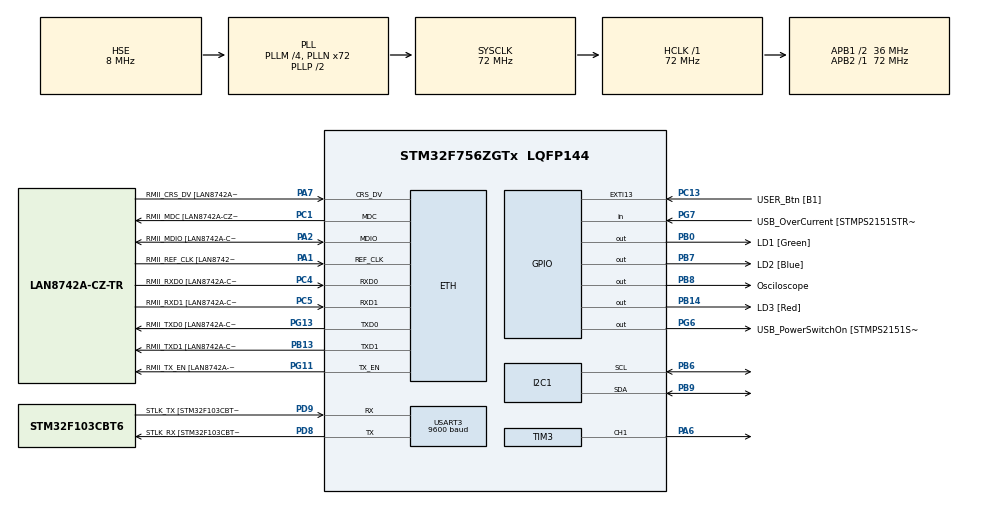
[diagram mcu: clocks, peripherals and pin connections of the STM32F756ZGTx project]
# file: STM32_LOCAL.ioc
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ETH.MediaInterface=HAL_ETH_RMII_MODE
ETH.PHY_Name=LAN8742A_PHY_ADDRESS
ETH.PHY_Value=0
ETH.PhyAddress=0
I2C1.Timing=0x00808CD2
LWIP.BSP.number=1
LWIP.GATEWAY_ADDRESS=192.168.113.010
LWIP.IP_ADDRESS=192.168.113.005
LWIP.LWIP_DHCP=0
LWIP.LWIP_HTTPD=0
LWIP.LWIP_SNTP=1
LWIP.MEM_SIZE=8000
LWIP.NETMASK_ADDRESS=255.255.255.000
LWIP.Version=v2.1.2_Cube
LWIP0.BSP.STBoard=false
LWIP0.BSP.api=BSP_COMPONENT_DRIVER
LWIP0.BSP.component=LAN8742
LWIP0.BSP.instance=LAN8742
LWIP0.BSP.name=Driver_PHY
LWIP0.BSP.semaphore=S_LAN8742
LWIP0.BSP.solution=LAN8742
Mcu.Family=STM32F7
Mcu.Name=STM32F756ZGTx
Mcu.Package=LQFP144
NVIC.PriorityGroup=NVIC_PRIORITYGROUP_4
NVIC.TIM2_IRQn=true\:0\:0\:false\:false\:true\:true\:true\:true
PA1.GPIO_Label=RMII_REF_CLK [LAN8742A-CZ-TR_REFCLK0]
PA1.Mode=RMII
PA1.Signal=ETH_REF_CLK
PA10.GPIO_Label=USB_ID
PA10.Signal=USB_OTG_FS_ID
PA11.GPIO_Label=USB_DM
PA11.Signal=USB_OTG_FS_DM
PA12.GPIO_Label=USB_DP
PA12.Signal=USB_OTG_FS_DP
PA13.GPIO_Label=TMS
PA13.Mode=Serial_Wire
PA13.Signal=SYS_JTMS-SWDIO
PA14.GPIO_Label=TCK
PA14.Mode=Serial_Wire
PA14.Signal=SYS_JTCK-SWCLK
PA2.GPIO_Label=RMII_MDIO [LAN8742A-CZ-TR_MDIO]
PA2.Mode=RMII
PA2.Signal=ETH_MDIO
PA6.Signal=S_TIM3_CH1
PA7.GPIO_Label=RMII_CRS_DV [LAN8742A-CZ-TR_CRS_DV]
PA7.Mode=RMII
PA7.Signal=ETH_CRS_DV
PA8.GPIO_Label=USB_SOF [TP1]
PA8.Signal=USB_OTG_FS_SOF
PA9.GPIO_Label=USB_VBUS
PA9.Signal=USB_OTG_FS_VBUS
PB0.GPIO_Label=LD1 [Green]
PB0.Signal=GPIO_Output
PB13.GPIO_Label=RMII_TXD1 [LAN8742A-CZ-TR_TXD1]
PB13.Mode=RMII
PB13.Signal=ETH_TXD1
PB14.GPIO_Label=LD3 [Red]
PB14.Signal=GPIO_Output
PB3.GPIO_Label=SW0
PB3.Signal=SYS_JTDO-SWO
PB6.Mode=I2C
PB6.Signal=I2C1_SCL
PB7.GPIO_Label=LD2 [Blue]
PB7.Signal=GPIO_Output
PB8.GPIO_Label=Osciloscope
PB8.PinState=GPIO_PIN_RESET
PB8.Signal=GPIO_Output
PB9.Mode=I2C
PB9.Signal=I2C1_SDA
PC1.GPIO_Label=RMII_MDC [LAN8742A-CZ-TR_MDC]
PC1.Mode=RMII
PC1.Signal=ETH_MDC
PC13.GPIO_Label=USER_Btn [B1]
PC13.Signal=GPXTI13
PC14/OSC32_IN.Mode=LSE-External-Oscillator
PC14/OSC32_IN.Signal=RCC_OSC32_IN
PC15/OSC32_OUT.Mode=LSE-External-Oscillator
PC15/OSC32_OUT.Signal=RCC_OSC32_OUT
PC4.GPIO_Label=RMII_RXD0 [LAN8742A-CZ-TR_RXD0]
PC4.Mode=RMII
PC4.Signal=ETH_RXD0
PC5.GPIO_Label=RMII_RXD1 [LAN8742A-CZ-TR_RXD1]
PC5.Mode=RMII
PC5.Signal=ETH_RXD1
PD8.GPIO_Label=STLK_RX [STM32F103CBT6_PA3]
PD8.Mode=Asynchronous
PD8.Signal=USART3_TX
PD9.GPIO_Label=STLK_TX [STM32F103CBT6_PA2]
PD9.Mode=Asynchronous
PD9.Signal=USART3_RX
PG11.GPIO_Label=RMII_TX_EN [LAN8742A-CZ-TR_TXEN]
PG11.Mode=RMII
PG11.Signal=ETH_TX_EN
PG13.GPIO_Label=RMII_TXD0 [LAN8742A-CZ-TR_TXD0]
PG13.Mode=RMII
PG13.Signal=ETH_TXD0
PG6.GPIO_Label=USB_PowerSwitchOn [STMPS2151STR_EN]
PG6.Signal=GPIO_Output
PG7.GPIO_Label=USB_OverCurrent [STMPS2151STR_FAULT]
PG7.Signal=GPIO_Input
PH0/OSC_IN.GPIO_Label=MCO [STM32F103CBT6_PA8]
PH0/OSC_IN.Mode=HSE-External-Clock-Source
PH0/OSC_IN.Signal=RCC_OSC_IN
PH1/OSC_OUT.Mode=HSE-External-Clock-Source
PH1/OSC_OUT.Signal=RCC_OSC_OUT
ProjectManager.HeapSize=0x200
ProjectManager.StackSize=0x400
ProjectManager.TargetToolchain=STM32CubeIDE
RCC.48MHZClocksFreq_Value=24000000
RCC.AHBFreq_Value=72000000
RCC.APB1CLKDivider=RCC_HCLK_DIV2
RCC.APB1Freq_Value=36000000
RCC.APB1TimFreq_Value=72000000
RCC.APB2Freq_Value=72000000
RCC.APB2TimFreq_Value=72000000
RCC.CortexFreq_Value=72000000
RCC.HCLKFreq_Value=72000000
RCC.HSE_VALUE=8000000
RCC.HSI_VALUE=16000000
RCC.PLLM=4
RCC.PLLMUL=RCC_PLL_MUL9
RCC.PLLN=72
RCC.PLLQ=3
RCC.PLLSourceVirtual=RCC_PLLSOURCE_HSE
RCC.PRESCALERUSB=RCC_USBCLKSOURCE_PLL_DIV1_5
RCC.RTCClockSelection=RCC_RTCCLKSOURCE_LSE
RCC.SYSCLKFreq_VALUE=72000000
RCC.SYSCLKSource=RCC_SYSCLKSOURCE_PLLCLK
RCC.SYSCLKSourceVirtual=RCC_SYSCLKSOURCE_PLLCLK
RCC.USBFreq_Value=48000000
RCC.VCOOutputFreq_Value=144000000
SH.S_TIM3_CH1.0=TIM3_CH1,PWM Generation1 CH1
TIM2.Period=19999
TIM2.Prescaler=71
TIM3.Channel-PWM\ Generation1\ CH1=TIM_CHANNEL_1
TIM3.Period=1999
TIM3.Prescaler=71
TIM3.Pulse-PWM\ Generation1\ CH1=999
USART3.BaudRate=9600
USART3.VirtualMode-Asynchronous=VM_ASYNC
VP_LWIP_VS_Enabled.Mode=Enabled
VP_RTC_VS_RTC_Activate.Mode=RTC_Enabled
VP_TIM2_VS_ClockSourceINT.Mode=Internal
VP_TIM3_VS_ClockSourceINT.Mode=Internal
board=NUCLEO-F756ZG

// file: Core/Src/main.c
/* USER CODE BEGIN Header */
/**
  ******************************************************************************
  * @file           : main.c
  * @brief          : Main program body
  ******************************************************************************
  * @attention
  *
  * Copyright (c) 2023 STMicroelectronics.
  * All rights reserved.
  *
  * This software is licensed under terms that can be found in the LICENSE file
  * in the root directory of this software component.
  * If no LICENSE file comes with this software, it is provided AS-IS.
  *
  ******************************************************************************
  */
/* USER CODE END Header */
#include "main.h"
#include "i2c.h"
#include "lwip.h"
#include "rtc.h"
#include "tim.h"
#include "usart.h"
#include "gpio.h"

/* USER CODE BEGIN Includes */
#include "lwip/apps/sntp.h"
#include "BH1750.h"
#include "BMP280.h"
#include "PID.h"
/* USER CODE END Includes */

/* USER CODE BEGIN PV */
BH1750_typedef BH1750;
BMP280_typedef BMP280;
PID_typedef PID;
enum mode_enum MODE;
uint16_t len = 0;
/* USER CODE END PV */

void SystemClock_Config(void);

int main(void)
{

  /* MCU Configuration--------------------------------------------------------*/

  /* Reset of all peripherals, Initializes the Flash interface and the Systick. */
  HAL_Init();

  /* Configure the system clock */
  SystemClock_Config();

  /* Initialize all configured peripherals */
  MX_GPIO_Init();
  MX_USART3_UART_Init();
  MX_LWIP_Init();
  MX_TIM2_Init();
  MX_I2C1_Init();
  MX_RTC_Init();
  MX_TIM3_Init();
  /* USER CODE BEGIN 2 */
  	ip_addr_t sntp_server_ip;
	IP4_ADDR(&sntp_server_ip, 162, 159, 200, 1);
	sntp_setserver(0, &sntp_server_ip);
	sntp_setoperatingmode(SNTP_OPMODE_POLL);
	sntp_init();
	if (HAL_I2C_IsDeviceReady(&hi2c1, BMP280_ADRESS, 10, 50) == 0) {
			__HAL_TIM_SET_AUTORELOAD(&htim2, 499999);
			BMP280_init(&BMP280);
			MODE = Temp;
			PIDInit(&PID,371.248,1.95,0,0.5,1.015,0.1);
		}
	if (HAL_I2C_IsDeviceReady(&hi2c1, BH1750_ADRESS, 10, 50) == 0) {
			__HAL_TIM_SET_AUTORELOAD(&htim2, 150149);
			BH1750_init(&BH1750);
			MODE = Light;
			PIDInit(&PID,0.08,0.3,0,0.15,1.5,0);
		}
	HAL_TIM_Base_Start(&htim3);
	HAL_TIM_PWM_Start(&htim3, TIM_CHANNEL_1);
	HAL_TIM_Base_Start_IT(&htim2);

  /* USER CODE END 2 */

  /* Infinite loop */
  /* USER CODE BEGIN WHILE */
  while (1)
  {
	  MX_LWIP_Process();
    /* USER CODE END WHILE */

  }
}

void SystemClock_Config(void)
{
  RCC_OscInitTypeDef RCC_OscInitStruct = {0};
  RCC_ClkInitTypeDef RCC_ClkInitStruct = {0};

  /** Configure LSE Drive Capability
  */
  HAL_PWR_EnableBkUpAccess();
  __HAL_RCC_LSEDRIVE_CONFIG(RCC_LSEDRIVE_LOW);

  /** Configure the main internal regulator output voltage
  */
  __HAL_RCC_PWR_CLK_ENABLE();
  __HAL_PWR_VOLTAGESCALING_CONFIG(PWR_REGULATOR_VOLTAGE_SCALE3);

  /** Initializes the RCC Oscillators according to the specified parameters
  * in the RCC_OscInitTypeDef structure.
  */
  RCC_OscInitStruct.OscillatorType = RCC_OSCILLATORTYPE_HSE|RCC_OSCILLATORTYPE_LSE;
  RCC_OscInitStruct.HSEState = RCC_HSE_BYPASS;
  RCC_OscInitStruct.LSEState = RCC_LSE_ON;
  RCC_OscInitStruct.PLL.PLLState = RCC_PLL_ON;
  RCC_OscInitStruct.PLL.PLLSource = RCC_PLLSOURCE_HSE;
  RCC_OscInitStruct.PLL.PLLM = 4;
  RCC_OscInitStruct.PLL.PLLN = 72;
  RCC_OscInitStruct.PLL.PLLP = RCC_PLLP_DIV2;
  RCC_OscInitStruct.PLL.PLLQ = 3;
  if (HAL_RCC_OscConfig(&RCC_OscInitStruct) != HAL_OK)
  {
    Error_Handler();
  }

  /** Initializes the CPU, AHB and APB buses clocks
  */
  RCC_ClkInitStruct.ClockType = RCC_CLOCKTYPE_HCLK|RCC_CLOCKTYPE_SYSCLK
                              |RCC_CLOCKTYPE_PCLK1|RCC_CLOCKTYPE_PCLK2;
  RCC_ClkInitStruct.SYSCLKSource = RCC_SYSCLKSOURCE_PLLCLK;
  RCC_ClkInitStruct.AHBCLKDivider = RCC_SYSCLK_DIV1;
  RCC_ClkInitStruct.APB1CLKDivider = RCC_HCLK_DIV2;
  RCC_ClkInitStruct.APB2CLKDivider = RCC_HCLK_DIV1;

  if (HAL_RCC_ClockConfig(&RCC_ClkInitStruct, FLASH_LATENCY_2) != HAL_OK)
  {
    Error_Handler();
  }
}

void Error_Handler(void)
{
  __disable_irq();
  while (1)
  {
  }
}
